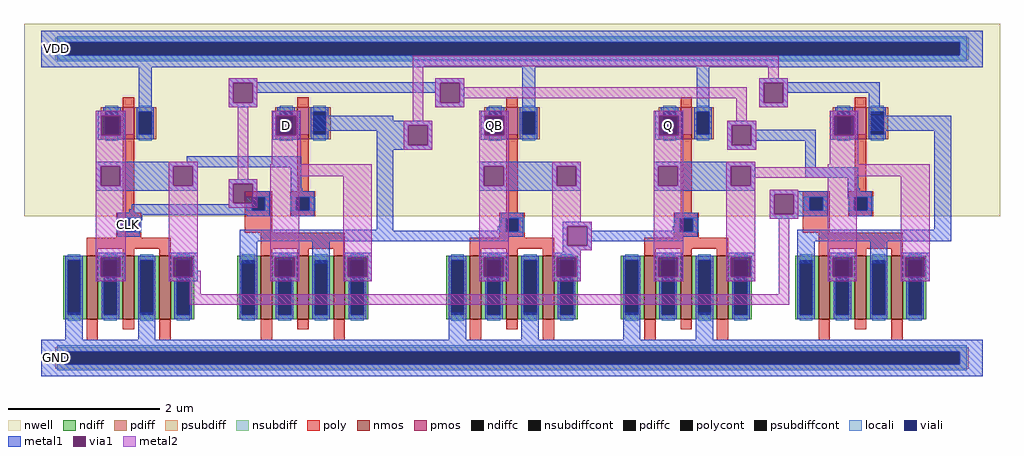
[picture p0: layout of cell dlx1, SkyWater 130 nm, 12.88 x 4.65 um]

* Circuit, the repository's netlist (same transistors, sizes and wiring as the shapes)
** sch_path: /foss/designs/dlx1.sch
.subckt dlx1 D VDD GND CLK QB Q
*.PININFO D:I VDD:B GND:B CLK:I QB:O Q:O
XM1 D CLKB net1 VDD sky130_fd_pr__pfet_01v8 L=0.15 W=0.42 nf=1
XM2 D CLK net1 GND sky130_fd_pr__nfet_01v8 L=0.15 W=2.52 nf=3
XM3 CLKB CLK VDD VDD sky130_fd_pr__pfet_01v8 L=0.15 W=0.42 nf=1
XM4 CLKB CLK GND GND sky130_fd_pr__nfet_01v8 L=0.15 W=2.52 nf=3
XM9 QB net1 VDD VDD sky130_fd_pr__pfet_01v8 L=0.15 W=0.42 nf=1
XM8 QB net1 GND GND sky130_fd_pr__nfet_01v8 L=0.15 W=2.52 nf=3
XM5 Q QB VDD VDD sky130_fd_pr__pfet_01v8 L=0.15 W=0.42 nf=1
XM6 Q QB GND GND sky130_fd_pr__nfet_01v8 L=0.15 W=2.52 nf=3
XM7 net1 CLK Q VDD sky130_fd_pr__pfet_01v8 L=0.15 W=0.42 nf=1
XM10 net1 CLKB Q GND sky130_fd_pr__nfet_01v8 L=0.15 W=2.52 nf=3
.ends

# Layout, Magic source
magic
tech sky130A
magscale 1 2
<< nwell >>
rect -46 374 2530 882
<< psubdiff >>
rect 36 17 2448 29
rect 36 -17 60 17
rect 2424 -17 2448 17
rect 36 -29 2448 -17
<< nsubdiff >>
rect 36 833 2448 845
rect 36 799 60 833
rect 2424 799 2448 833
rect 36 787 2448 799
<< psubdiffcont >>
rect 60 -17 2424 17
<< nsubdiffcont >>
rect 60 799 2424 833
<< poly >>
rect 215 384 245 590
rect 675 440 705 590
rect 537 424 609 440
rect 537 390 556 424
rect 590 390 609 424
rect 197 368 263 384
rect 197 334 213 368
rect 247 334 263 368
rect 197 318 263 334
rect 537 330 609 390
rect 657 424 723 440
rect 657 390 673 424
rect 707 390 723 424
rect 657 374 723 390
rect 1227 384 1257 590
rect 1687 384 1717 590
rect 2147 440 2177 590
rect 2009 424 2081 440
rect 2009 390 2028 424
rect 2062 390 2081 424
rect 1209 368 1275 384
rect 1209 334 1225 368
rect 1259 334 1275 368
rect 119 288 341 318
rect 579 288 801 330
rect 1209 318 1275 334
rect 1669 368 1735 384
rect 1669 334 1685 368
rect 1719 334 1735 368
rect 1669 318 1735 334
rect 2009 330 2081 390
rect 2129 424 2195 440
rect 2129 390 2145 424
rect 2179 390 2195 424
rect 2129 374 2195 390
rect 1131 288 1353 318
rect 1591 288 1813 318
rect 2051 288 2273 330
<< polycont >>
rect 556 390 590 424
rect 213 334 247 368
rect 673 390 707 424
rect 2028 390 2062 424
rect 1225 334 1259 368
rect 1685 334 1719 368
rect 2145 390 2179 424
<< locali >>
rect 42 833 2442 849
rect 42 799 60 833
rect 2424 799 2442 833
rect 42 783 2442 799
rect 540 424 606 426
rect 540 390 556 424
rect 590 390 606 424
rect 540 388 606 390
rect 657 424 723 426
rect 657 390 673 424
rect 707 390 723 424
rect 657 388 723 390
rect 2012 424 2078 426
rect 2012 390 2028 424
rect 2062 390 2078 424
rect 2012 388 2078 390
rect 2129 424 2195 426
rect 2129 390 2145 424
rect 2179 390 2195 424
rect 2129 388 2195 390
rect 197 368 263 370
rect 197 334 213 368
rect 247 334 263 368
rect 197 332 263 334
rect 1209 368 1275 370
rect 1209 334 1225 368
rect 1259 334 1275 368
rect 1209 332 1275 334
rect 1669 368 1735 370
rect 1669 334 1685 368
rect 1719 334 1735 368
rect 1669 332 1735 334
rect 42 17 2442 33
rect 42 -17 60 17
rect 2424 -17 2442 17
rect 42 -33 2442 -17
<< viali >>
rect 60 799 2424 833
rect 556 390 590 424
rect 673 390 707 424
rect 2028 390 2062 424
rect 2145 390 2179 424
rect 213 334 247 368
rect 1225 334 1259 368
rect 1685 334 1719 368
rect 60 -17 2424 17
<< metal1 >>
rect 0 833 2484 864
rect 0 799 60 833
rect 2424 799 2484 833
rect 0 768 2484 799
rect 148 640 220 652
rect 257 650 291 768
rect 494 728 570 738
rect 1040 728 1116 738
rect 494 726 1116 728
rect 494 674 506 726
rect 558 700 1052 726
rect 558 674 570 700
rect 494 662 570 674
rect 1040 674 1052 700
rect 1104 674 1116 726
rect 1040 662 1116 674
rect 148 588 158 640
rect 210 588 220 640
rect 148 576 220 588
rect 610 640 682 652
rect 1160 640 1232 652
rect 1269 650 1303 768
rect 610 588 620 640
rect 672 588 682 640
rect 711 626 929 640
rect 711 614 1032 626
rect 711 600 968 614
rect 610 576 682 588
rect 885 562 968 600
rect 1020 562 1032 614
rect 1160 588 1170 640
rect 1222 588 1232 640
rect 1160 576 1232 588
rect 1620 640 1692 652
rect 1729 650 1763 768
rect 1894 728 1970 738
rect 1894 726 2212 728
rect 1894 674 1906 726
rect 1958 700 2212 726
rect 1958 674 1970 700
rect 1894 662 1970 674
rect 1620 588 1630 640
rect 1682 588 1692 640
rect 2082 640 2154 652
rect 2184 644 2212 700
rect 1620 576 1692 588
rect 1810 614 1886 626
rect 885 550 1032 562
rect 1810 562 1822 614
rect 1874 602 1886 614
rect 1874 574 2044 602
rect 2082 588 2092 640
rect 2144 588 2154 640
rect 2183 600 2401 640
rect 2082 576 2154 588
rect 1874 562 1886 574
rect 1810 550 1886 562
rect 384 518 686 532
rect 144 506 686 518
rect 144 454 156 506
rect 208 454 348 506
rect 400 504 686 506
rect 400 454 412 504
rect 144 442 412 454
rect 494 460 570 472
rect 494 408 506 460
rect 558 440 570 460
rect 658 448 686 504
rect 658 440 688 448
rect 558 424 603 440
rect 494 406 556 408
rect 238 392 556 406
rect 232 390 556 392
rect 590 390 603 424
rect 658 424 720 440
rect 658 420 673 424
rect 232 384 603 390
rect 200 378 603 384
rect 200 368 266 378
rect 543 374 603 378
rect 660 390 673 420
rect 707 390 720 424
rect 660 374 720 390
rect 200 334 213 368
rect 247 364 266 368
rect 247 334 260 364
rect 885 338 929 550
rect 1156 506 1424 518
rect 1156 454 1168 506
rect 1220 454 1360 506
rect 1412 454 1424 506
rect 1156 442 1424 454
rect 1616 506 1884 518
rect 1616 454 1628 506
rect 1680 454 1820 506
rect 1872 454 1884 506
rect 2016 504 2044 574
rect 2016 476 2156 504
rect 1616 442 1884 454
rect 2128 448 2156 476
rect 1922 440 1998 444
rect 2128 440 2160 448
rect 1922 432 2075 440
rect 1212 368 1272 384
rect 1212 348 1225 368
rect 200 320 260 334
rect 523 336 929 338
rect 1204 336 1225 348
rect 523 334 1225 336
rect 1259 334 1272 368
rect 1672 368 1732 384
rect 1922 380 1934 432
rect 1986 424 2075 432
rect 1986 390 2028 424
rect 2062 390 2075 424
rect 2128 424 2192 440
rect 2128 420 2145 424
rect 1986 380 2075 390
rect 1922 374 2075 380
rect 2132 390 2145 420
rect 2179 390 2192 424
rect 2132 374 2192 390
rect 1922 368 1998 374
rect 523 320 1272 334
rect 1376 348 1452 360
rect 1672 348 1685 368
rect 523 308 1232 320
rect 144 266 220 278
rect 144 214 156 266
rect 208 214 220 266
rect 144 202 220 214
rect 336 266 412 278
rect 336 214 348 266
rect 400 214 412 266
rect 523 250 569 308
rect 604 266 680 278
rect 336 202 412 214
rect 604 214 616 266
rect 668 214 680 266
rect 715 250 761 308
rect 1376 296 1388 348
rect 1440 336 1452 348
rect 1666 336 1685 348
rect 1440 334 1685 336
rect 1719 334 1732 368
rect 2357 338 2401 600
rect 1440 320 1732 334
rect 1440 308 1694 320
rect 1995 308 2401 338
rect 1440 296 1452 308
rect 1376 284 1452 296
rect 1376 278 1424 284
rect 796 266 872 278
rect 604 202 680 214
rect 796 214 808 266
rect 860 214 872 266
rect 796 202 872 214
rect 1156 266 1232 278
rect 1156 214 1168 266
rect 1220 214 1232 266
rect 1156 202 1232 214
rect 1348 266 1424 278
rect 1348 214 1360 266
rect 1412 214 1424 266
rect 1348 202 1424 214
rect 1616 266 1692 278
rect 1616 214 1628 266
rect 1680 214 1692 266
rect 1616 202 1692 214
rect 1808 266 1884 278
rect 1808 214 1820 266
rect 1872 214 1884 266
rect 1995 250 2041 308
rect 2076 266 2152 278
rect 1808 202 1884 214
rect 2076 214 2088 266
rect 2140 214 2152 266
rect 2187 250 2233 308
rect 2268 266 2344 278
rect 2076 202 2152 214
rect 2268 214 2280 266
rect 2332 214 2344 266
rect 2268 202 2344 214
rect 63 48 109 120
rect 255 48 301 120
rect 1075 48 1121 120
rect 1267 48 1313 120
rect 1535 48 1581 120
rect 1727 48 1773 120
rect 0 17 2484 48
rect 0 -17 60 17
rect 2424 -17 2484 17
rect 0 -48 2484 -17
<< via1 >>
rect 506 674 558 726
rect 1052 674 1104 726
rect 158 588 210 640
rect 620 588 672 640
rect 968 562 1020 614
rect 1170 588 1222 640
rect 1906 674 1958 726
rect 1630 588 1682 640
rect 1822 562 1874 614
rect 2092 588 2144 640
rect 156 454 208 506
rect 348 454 400 506
rect 506 424 558 460
rect 506 408 556 424
rect 556 408 558 424
rect 1168 454 1220 506
rect 1360 454 1412 506
rect 1628 454 1680 506
rect 1820 454 1872 506
rect 1934 380 1986 432
rect 156 214 208 266
rect 348 214 400 266
rect 616 214 668 266
rect 1388 296 1440 348
rect 808 214 860 266
rect 1168 214 1220 266
rect 1360 214 1412 266
rect 1628 214 1680 266
rect 1820 214 1872 266
rect 2088 214 2140 266
rect 2280 214 2332 266
<< metal2 >>
rect 980 770 1946 798
rect 494 726 570 738
rect 494 674 506 726
rect 558 674 570 726
rect 494 662 570 674
rect 144 640 222 652
rect 144 588 158 640
rect 210 588 222 640
rect 144 506 222 588
rect 144 454 156 506
rect 208 454 222 506
rect 144 266 222 454
rect 144 214 156 266
rect 208 214 222 266
rect 144 202 222 214
rect 336 506 412 518
rect 336 454 348 506
rect 400 454 412 506
rect 518 472 546 662
rect 608 640 684 652
rect 608 588 620 640
rect 672 588 684 640
rect 980 626 1008 770
rect 1918 738 1946 770
rect 1040 726 1116 738
rect 1040 674 1052 726
rect 1104 714 1116 726
rect 1894 726 1970 738
rect 1104 686 1862 714
rect 1104 674 1116 686
rect 1040 662 1116 674
rect 1156 640 1234 652
rect 608 512 684 588
rect 956 614 1032 626
rect 956 562 968 614
rect 1020 562 1032 614
rect 956 550 1032 562
rect 1156 588 1170 640
rect 1222 588 1234 640
rect 604 480 872 512
rect 336 266 412 454
rect 494 460 570 472
rect 494 408 506 460
rect 558 408 570 460
rect 494 396 570 408
rect 336 214 348 266
rect 400 230 412 266
rect 604 266 680 480
rect 400 214 420 230
rect 336 202 420 214
rect 604 214 616 266
rect 668 214 680 266
rect 604 202 680 214
rect 796 266 872 480
rect 796 214 808 266
rect 860 214 872 266
rect 796 202 872 214
rect 1156 506 1234 588
rect 1616 640 1694 652
rect 1616 588 1630 640
rect 1682 588 1694 640
rect 1834 626 1862 686
rect 1894 674 1906 726
rect 1958 674 1970 726
rect 1894 662 1970 674
rect 2080 640 2156 652
rect 1156 454 1168 506
rect 1220 454 1234 506
rect 1156 266 1234 454
rect 1156 214 1168 266
rect 1220 214 1234 266
rect 1156 202 1234 214
rect 1348 506 1424 518
rect 1348 454 1360 506
rect 1412 454 1424 506
rect 1348 360 1424 454
rect 1616 506 1694 588
rect 1810 614 1886 626
rect 1810 562 1822 614
rect 1874 562 1886 614
rect 1810 550 1886 562
rect 2080 588 2092 640
rect 2144 588 2156 640
rect 1616 454 1628 506
rect 1680 454 1694 506
rect 1348 348 1452 360
rect 1348 296 1388 348
rect 1440 296 1452 348
rect 1348 284 1452 296
rect 1348 266 1424 284
rect 1348 214 1360 266
rect 1412 214 1424 266
rect 1348 202 1424 214
rect 1616 266 1694 454
rect 1616 214 1628 266
rect 1680 214 1694 266
rect 1616 202 1694 214
rect 1808 506 1884 518
rect 2080 512 2156 588
rect 1808 454 1820 506
rect 1872 504 1884 506
rect 2076 504 2344 512
rect 1872 480 2344 504
rect 1872 476 2152 480
rect 1872 454 1884 476
rect 1808 266 1884 454
rect 1922 432 1998 444
rect 1922 380 1934 432
rect 1986 380 1998 432
rect 1922 368 1998 380
rect 1808 214 1820 266
rect 1872 214 1884 266
rect 1808 202 1884 214
rect 392 168 420 202
rect 1946 168 1974 368
rect 2076 266 2152 476
rect 2076 214 2088 266
rect 2140 214 2152 266
rect 2076 202 2152 214
rect 2268 266 2344 480
rect 2268 214 2280 266
rect 2332 214 2344 266
rect 2268 202 2344 214
rect 392 140 1974 168
use sky130_fd_pr__nfet_01v8_RPKUUV  xn_a
transform 1 0 1242 0 1 186
box -173 -139 173 139
use sky130_fd_pr__nfet_01v8_RPKUUV  xn_b
transform 1 0 1702 0 1 186
box -173 -139 173 139
use sky130_fd_pr__nfet_01v8_RPKUUV  xn_ck
transform 1 0 230 0 1 186
box -173 -139 173 139
use sky130_fd_pr__nfet_01v8_RPKUUV  xn_fb
transform 1 0 2162 0 1 186
box -173 -139 173 139
use sky130_fd_pr__nfet_01v8_RPKUUV  xn_in
transform 1 0 690 0 1 186
box -173 -139 173 139
use sky130_fd_pr__pfet_01v8_YNU6YZ  xp_a
transform 1 0 1242 0 1 620
box -109 -104 109 104
use sky130_fd_pr__pfet_01v8_YNU6YZ  xp_b
transform 1 0 1702 0 1 620
box -109 -104 109 104
use sky130_fd_pr__pfet_01v8_YNU6YZ  xp_ck
transform 1 0 230 0 1 620
box -109 -104 109 104
use sky130_fd_pr__pfet_01v8_YNU6YZ  xp_fb
transform 1 0 2162 0 1 620
box -109 -104 109 104
use sky130_fd_pr__pfet_01v8_YNU6YZ  xp_in
transform 1 0 690 0 1 620
box -109 -104 109 104
<< labels >>
rlabel metal1 200 320 260 384 0 CLK
port 1 nsew
rlabel metal1 610 576 682 652 0 D
port 2 nsew
rlabel metal1 1160 576 1232 652 0 QB
port 3 nsew
rlabel metal1 1620 576 1692 652 0 Q
port 4 nsew
rlabel metal1 10 780 70 852 0 VDD
port 5 nsew
rlabel metal1 10 -36 70 36 0 GND
port 6 nsew
<< properties >>
string FIXED_BBOX 0 0 2484 816
<< end >>

# cell sky130_fd_pr__nfet_01v8_RPKUUV: kit device sky130_fd_pr__nfet_01v8, w 0.84 l 0.15 m 1 nf 3 diffcov 100 polycov 100 guard 0 glc 1 grc 1 gtc 1 gbc 1 tbcov 100 rlcov 100 topc 0 botc 0 poverlap 0 doverlap 1 lmin 0.15 wmin 0.42 class mosfet compatible {sky130_fd_pr__nfet_01v8 sky130_fd_pr__nfet_01v8_lvt sky130_fd_bs_flash__special_sonosfet_star sky130_fd_pr__nfet_g5v0d10v5 sky130_fd_pr__nfet_05v0_nvt sky130_fd_pr__nfet_03v3_nvt} full_metal 1 conn_gates 0 viasrc 100 viadrn 100 viagate 100 viagb 0 viagr 0 viagl 0 viagt 0 doports 1

# cell sky130_fd_pr__pfet_01v8_YNU6YZ: kit device sky130_fd_pr__pfet_01v8, w 0.42 l 0.15 m 1 nf 1 diffcov 100 polycov 100 guard 0 glc 1 grc 1 gtc 1 gbc 1 tbcov 100 rlcov 100 topc 0 botc 0 poverlap 0 doverlap 1 lmin 0.15 wmin 0.42 class mosfet compatible {sky130_fd_pr__pfet_01v8 sky130_fd_pr__pfet_01v8_lvt sky130_fd_pr__pfet_01v8_hvt sky130_fd_pr__pfet_g5v0d10v5} full_metal 1 conn_gates 0 viasrc 100 viadrn 100 viagate 100 viagb 0 viagr 0 viagl 0 viagt 0 doports 1
